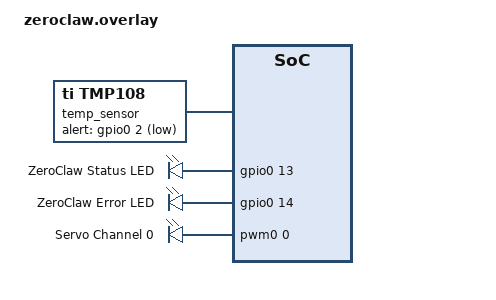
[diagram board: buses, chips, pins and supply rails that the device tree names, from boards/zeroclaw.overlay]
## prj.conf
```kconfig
# ZeroClaw Zephyr Configuration

# Kernel Configuration
CONFIG_MAIN_STACK_SIZE=4096
CONFIG_SYSTEM_WORKQUEUE_STACK_SIZE=2048
CONFIG_THREAD_NAME=y

# Logging
CONFIG_LOG=y
CONFIG_LOG_DEFAULT_LEVEL=3
CONFIG_LOG_BUFFER_SIZE=1024

# GPIO
CONFIG_GPIO=y

# UART
CONFIG_UART_CONSOLE=y
CONFIG_SERIAL=y

# Sensors
CONFIG_SENSOR=y
CONFIG_TMP108=y

# Shell
CONFIG_SHELL=y
CONFIG_SHELL_BACKENDS=y
CONFIG_SHELL_BACKEND_SERIAL=y

# Networking (for future TCP/UDP support)
CONFIG_NETWORKING=y
CONFIG_NET_SOCKETS=y
CONFIG_NET_SOCKETS_POSIX_NAMES=y

# Memory Management
CONFIG_HEAP_MEM_POOL_SIZE=16384

# Security (Zephyr's strength)
CONFIG_MBEDTLS=y
CONFIG_MBEDTLS_BUILTIN=y
CONFIG_MBEDTLS_CFG_FILE="mbedtls-config.h"

# Device Tree Support
CONFIG_HAS_DTS=y

# ZeroClaw specific
CONFIG_ZEROCLAW_MAX_DEVICES=8
CONFIG_ZEROCLAW_UART_BUFFER_SIZE=1024
```

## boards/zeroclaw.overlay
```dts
/*
 * ZeroClaw Device Tree Overlay for Zephyr
 * Demonstrates hardware abstraction through device tree
 */

/ {
    aliases {
        zeroclaw-led = &led0;
        zeroclaw-uart = &uart0;
        zeroclaw-sensor = &temp_sensor;
    };
    
    zeroclaw {
        compatible = "zeroclaw,hal";
        label = "ZeroClaw HAL";
        
        /* GPIO configuration */
        gpio-controller;
        #gpio-cells = <2>;
        
        /* Hardware capabilities */
        capabilities = "gpio", "uart", "sensor", "pwm";
        max-devices = <8>;
        protocol-version = <1>;
    };
    
    /* Temperature sensor */
    temp_sensor: tmp108@48 {
        compatible = "ti,tmp108";
        reg = <0x48>;
        status = "okay";
        
        /* Alert configuration */
        alert-gpios = <&gpio0 2 GPIO_ACTIVE_LOW>;
    };
    
    /* ZeroClaw specific GPIO mappings */
    zeroclaw_gpio: gpio-leds {
        compatible = "gpio-leds";
        
        status_led: led_0 {
            gpios = <&gpio0 13 GPIO_ACTIVE_HIGH>;
            label = "ZeroClaw Status LED";
        };
        
        error_led: led_1 {
            gpios = <&gpio0 14 GPIO_ACTIVE_HIGH>;
            label = "ZeroClaw Error LED";
        };
    };
    
    /* PWM for servo/motor control */
    zeroclaw_pwm: pwm_leds {
        compatible = "pwm-leds";
        
        servo_0: pwm_led_0 {
            pwms = <&pwm0 0 PWM_MSEC(20) PWM_POLARITY_NORMAL>;
            label = "Servo Channel 0";
        };
    };
};
```

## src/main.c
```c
/*
 * ZeroClaw Hardware Abstraction Layer - Zephyr OS Implementation
 * 
 * This demonstrates how ZeroClaw's HAL integrates with Zephyr OS
 * for Google-style embedded development.
 */

#include <zephyr/kernel.h>
#include <zephyr/device.h>
#include <zephyr/drivers/gpio.h>
#include <zephyr/drivers/uart.h>
#include <zephyr/drivers/sensor.h>
#include <zephyr/logging/log.h>
#include <zephyr/shell/shell.h>
#include <zephyr/sys/printk.h>
#include <zephyr/net/socket.h>

LOG_MODULE_REGISTER(zeroclaw_hal, LOG_LEVEL_INF);

/* Device Tree bindings */
#define LED0_NODE DT_ALIAS(led0)
#define GPIO_LED_PIN DT_GPIO_PIN(LED0_NODE, gpios)
#define GPIO_LED_FLAGS DT_GPIO_FLAGS(LED0_NODE, gpios)

/* ZeroClaw protocol constants */
#define ZEROCLAW_MAGIC 0x5A45524F  /* "ZERO" */
#define MAX_COMMAND_SIZE 1024
#define MAX_RESPONSE_SIZE 2048

/* Command types matching ZeroClaw Peripheral trait */
enum zeroclaw_cmd_type {
    CMD_GPIO_READ = 0x01,
    CMD_GPIO_WRITE = 0x02,
    CMD_SENSOR_READ = 0x03,
    CMD_DEVICE_INFO = 0x04,
    CMD_HEALTH_CHECK = 0x05,
    CMD_CODE_EXEC = 0x06,
};

/* ZeroClaw command packet */
struct zeroclaw_command {
    uint32_t magic;
    uint8_t cmd_type;
    uint16_t data_len;
    uint8_t data[MAX_COMMAND_SIZE];
    uint16_t checksum;
} __packed;

/* ZeroClaw response packet */
struct zeroclaw_response {
    uint32_t magic;
    uint8_t status;  /* 0 = success */
    uint16_t data_len;
    uint8_t data[MAX_RESPONSE_SIZE];
    uint16_t checksum;
} __packed;

/* Global device handles */
static const struct device *led_dev;
static const struct device *uart_dev;
static const struct device *sensor_dev;

/* Message queue for command processing */
K_MSGQ_DEFINE(cmd_msgq, sizeof(struct zeroclaw_command), 10, 4);

/* Thread stacks */
K_THREAD_STACK_DEFINE(uart_thread_stack, 2048);
K_THREAD_STACK_DEFINE(cmd_processor_stack, 4096);

static struct k_thread uart_thread_data;
static struct k_thread cmd_processor_data;

/*
 * GPIO Operations - matches ZeroClaw Tool interface
 */
static int zeroclaw_gpio_read(uint8_t pin, uint8_t *value)
{
    if (!led_dev) return -ENODEV;
    
    int ret = gpio_pin_get(led_dev, pin);
    if (ret < 0) return ret;
    
    *value = (uint8_t)ret;
    LOG_INF("GPIO read pin %d = %d", pin, *value);
    return 0;
}

static int zeroclaw_gpio_write(uint8_t pin, uint8_t value)
{
    if (!led_dev) return -ENODEV;
    
    int ret = gpio_pin_set(led_dev, pin, value);
    LOG_INF("GPIO write pin %d = %d", pin, value);
    return ret;
}

/*
 * Sensor Operations - extensible for multiple sensor types
 */
static int zeroclaw_sensor_read(uint8_t sensor_id, struct sensor_value *val)
{
    if (!sensor_dev) return -ENODEV;
    
    int ret = sensor_sample_fetch(sensor_dev);
    if (ret) return ret;
    
    ret = sensor_channel_get(sensor_dev, SENSOR_CHAN_AMBIENT_TEMP, val);
    LOG_INF("Sensor %d read: %d.%06d", sensor_id, val->val1, val->val2);
    return ret;
}

/*
 * Command processor - handles ZeroClaw protocol
 */
static void process_zeroclaw_command(struct zeroclaw_command *cmd, 
                                   struct zeroclaw_response *resp)
{
    resp->magic = ZEROCLAW_MAGIC;
    resp->status = 0;  /* success by default */
    resp->data_len = 0;
    
    switch (cmd->cmd_type) {
    case CMD_GPIO_READ: {
        if (cmd->data_len < 1) {
            resp->status = -EINVAL;
            break;
        }
        uint8_t pin = cmd->data[0];
        uint8_t value;
        int ret = zeroclaw_gpio_read(pin, &value);
        if (ret) {
            resp->status = ret;
        } else {
            resp->data[0] = value;
            resp->data_len = 1;
        }
        break;
    }
    
    case CMD_GPIO_WRITE: {
        if (cmd->data_len < 2) {
            resp->status = -EINVAL;
            break;
        }
        uint8_t pin = cmd->data[0];
        uint8_t value = cmd->data[1];
        resp->status = zeroclaw_gpio_write(pin, value);
        break;
    }
    
    case CMD_SENSOR_READ: {
        struct sensor_value val;
        int ret = zeroclaw_sensor_read(0, &val);
        if (ret) {
            resp->status = ret;
        } else {
            /* Pack sensor_value into response */
            memcpy(resp->data, &val, sizeof(val));
            resp->data_len = sizeof(val);
        }
        break;
    }
    
    case CMD_DEVICE_INFO: {
        const char *board = CONFIG_BOARD;
        strncpy((char*)resp->data, board, MAX_RESPONSE_SIZE - 1);
        resp->data_len = strlen(board);
        break;
    }
    
    case CMD_HEALTH_CHECK: {
        /* Simple alive check */
        resp->data[0] = 0x01;  /* alive */
        resp->data_len = 1;
        LOG_INF("Health check OK");
        break;
    }
    
    default:
        resp->status = -ENOSYS;
        LOG_WRN("Unknown command: 0x%02x", cmd->cmd_type);
    }
}

/*
 * Command processor thread
 */
static void cmd_processor_thread(void *arg1, void *arg2, void *arg3)
{
    struct zeroclaw_command cmd;
    struct zeroclaw_response resp;
    
    LOG_INF("ZeroClaw command processor started");
    
    while (1) {
        /* Wait for command from UART */
        if (k_msgq_get(&cmd_msgq, &cmd, K_FOREVER) == 0) {
            LOG_DBG("Processing command type 0x%02x", cmd.cmd_type);
            
            /* Process command */
            process_zeroclaw_command(&cmd, &resp);
            
            /* Send response via UART */
            if (uart_dev) {
                uart_tx(uart_dev, (uint8_t*)&resp, 
                       sizeof(resp) - MAX_RESPONSE_SIZE + resp.data_len, 
                       SYS_FOREVER_US);
            }
        }
    }
}

/*
 * UART receiver thread - handles ZeroClaw protocol
 */
static void uart_thread(void *arg1, void *arg2, void *arg3)
{
    struct zeroclaw_command cmd;
    uint8_t *cmd_ptr = (uint8_t*)&cmd;
    int bytes_received = 0;
    
    LOG_INF("ZeroClaw UART listener started");
    
    while (1) {
        uint8_t byte;
        int ret = uart_rx(uart_dev, &byte, 1, SYS_FOREVER_US);
        
        if (ret == 1) {
            cmd_ptr[bytes_received++] = byte;
            
            /* Check if we have a complete command */
            if (bytes_received >= sizeof(struct zeroclaw_command) - MAX_COMMAND_SIZE) {
                if (cmd.magic == ZEROCLAW_MAGIC && 
                    bytes_received >= (sizeof(cmd) - MAX_COMMAND_SIZE + cmd.data_len)) {
                    
                    /* Queue command for processing */
                    k_msgq_put(&cmd_msgq, &cmd, K_NO_WAIT);
                    bytes_received = 0;
                }
            }
            
            /* Reset if buffer full */
            if (bytes_received >= sizeof(cmd)) {
                bytes_received = 0;
            }
        }
        
        k_sleep(K_MSEC(1));
    }
}

/*
 * Zephyr shell commands for debugging
 */
static int cmd_gpio_test(const struct shell *shell, size_t argc, char **argv)
{
    if (argc < 3) {
        shell_error(shell, "Usage: gpio_test <pin> <0|1>");
        return -EINVAL;
    }
    
    int pin = atoi(argv[1]);
    int value = atoi(argv[2]);
    
    int ret = zeroclaw_gpio_write(pin, value);
    if (ret) {
        shell_error(shell, "GPIO write failed: %d", ret);
    } else {
        shell_print(shell, "GPIO pin %d set to %d", pin, value);
    }
    
    return ret;
}

static int cmd_sensor_test(const struct shell *shell, size_t argc, char **argv)
{
    struct sensor_value val;
    int ret = zeroclaw_sensor_read(0, &val);
    
    if (ret) {
        shell_error(shell, "Sensor read failed: %d", ret);
    } else {
        shell_print(shell, "Temperature: %d.%06d°C", val.val1, val.val2);
    }
    
    return ret;
}

/* Shell commands */
SHELL_STATIC_SUBCMD_SET_CREATE(zeroclaw_cmds,
    SHELL_CMD(gpio, NULL, "Test GPIO operations", cmd_gpio_test),
    SHELL_CMD(sensor, NULL, "Test sensor operations", cmd_sensor_test),
    SHELL_SUBCMD_SET_END
);

SHELL_CMD_REGISTER(zeroclaw, &zeroclaw_cmds, "ZeroClaw HAL commands", NULL);

/*
 * Main initialization
 */
int main(void)
{
    LOG_INF("ZeroClaw Zephyr HAL starting...");
    
    /* Initialize GPIO */
    led_dev = DEVICE_DT_GET(DT_ALIAS(led0));
    if (!device_is_ready(led_dev)) {
        LOG_ERR("LED device not ready");
        return -ENODEV;
    }
    
    gpio_pin_configure(led_dev, GPIO_LED_PIN, 
                      GPIO_OUTPUT_ACTIVE | GPIO_LED_FLAGS);
    
    /* Initialize UART */
    uart_dev = DEVICE_DT_GET(DT_CHOSEN(zephyr_console));
    if (!device_is_ready(uart_dev)) {
        LOG_ERR("UART device not ready");
        return -ENODEV;
    }
    
    /* Initialize sensor (if available) */
    sensor_dev = DEVICE_DT_GET_ANY(ti_tmp108);
    if (sensor_dev && !device_is_ready(sensor_dev)) {
        LOG_WRN("Sensor not available");
        sensor_dev = NULL;
    }
    
    /* Start threads */
    k_thread_create(&uart_thread_data, uart_thread_stack,
                   K_THREAD_STACK_SIZEOF(uart_thread_stack),
                   uart_thread, NULL, NULL, NULL,
                   K_PRIO_COOP(7), 0, K_NO_WAIT);
    
    k_thread_create(&cmd_processor_data, cmd_processor_stack,
                   K_THREAD_STACK_SIZEOF(cmd_processor_stack),
                   cmd_processor_thread, NULL, NULL, NULL,
                   K_PRIO_COOP(8), 0, K_NO_WAIT);
    
    LOG_INF("ZeroClaw HAL ready - Zephyr %s", CONFIG_KERNEL_VERSION);
    
    /* Blink LED to indicate ready state */
    while (1) {
        gpio_pin_toggle(led_dev, GPIO_LED_PIN);
        k_sleep(K_MSEC(1000));
    }
    
    return 0;
}
```
